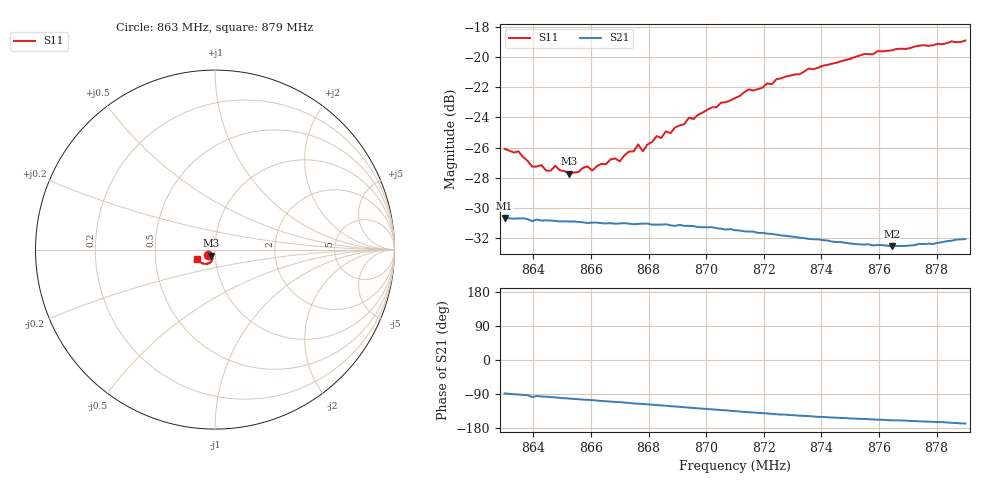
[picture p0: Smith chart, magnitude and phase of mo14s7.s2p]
# HZ S RI R 50
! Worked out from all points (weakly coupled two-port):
!   101 points, 863 MHz to 879 MHz, reference 50 ohm
!   highest |S21| = -30.65 dB at 863 MHz (marker M1); lowest = -32.5 dB at 876.44 MHz (marker M2)
!   lowest |S11| = -27.7 dB at 865.24 MHz (marker M3), VSWR 1.09, Z = 47.5 - j3.17 ohm
!   |S11| at or under -10 dB: start of sweep to end of sweep
!   S12 and S22 are empty: the file has one direction only
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8.63e8  -0.04 -0.0294  0.000915 -0.0293  0 0  0 0
8.6348e8  -0.0371 -0.0316  -0.000594 -0.0292  0 0  0 0
8.6396e8  -0.0312 -0.0301  -0.00385 -0.0284  0 0  0 0
8.6428e8  -0.0306 -0.0315  -0.00323 -0.0286  0 0  0 0
8.646e8  -0.0278 -0.0315  -0.00395 -0.0285  0 0  0 0
8.6476e8  -0.0282 -0.0333  -0.00431 -0.0284  0 0  0 0
8.6524e8  -0.0241 -0.0333  -0.00576 -0.028  0 0  0 0
8.6572e8  -0.0214 -0.0373  -0.00712 -0.0275  0 0  0 0
8.6604e8  -0.0197 -0.0372  -0.0078 -0.0272  0 0  0 0
8.6668e8  -0.0179 -0.0422  -0.00954 -0.0266  0 0  0 0
8.67e8  -0.0172 -0.0418  -0.0102 -0.0262  0 0  0 0
8.6764e8  -0.0162 -0.0488  -0.012 -0.0254  0 0  0 0
8.678e8  -0.0151 -0.0464  -0.0123 -0.0253  0 0  0 0
8.6828e8  -0.0156 -0.0525  -0.0135 -0.0244  0 0  0 0
8.6844e8  -0.0151 -0.0518  -0.0138 -0.0242  0 0  0 0
8.694e8  -0.0179 -0.0604  -0.0161 -0.0225  0 0  0 0
8.6956e8  -0.0172 -0.0599  -0.0165 -0.0221  0 0  0 0
8.71e8  -0.0247 -0.0688  -0.0189 -0.019  0 0  0 0
8.7148e8  -0.028 -0.0729  -0.0196 -0.0178  0 0  0 0
8.7372e8  -0.0447 -0.0793  -0.0214 -0.0129  0 0  0 0
8.7644e8  -0.0749 -0.0737  -0.0221 -0.00845  0 0  0 0
8.79e8  -0.0994 -0.0543  -0.0244 -0.00539  0 0  0 0
